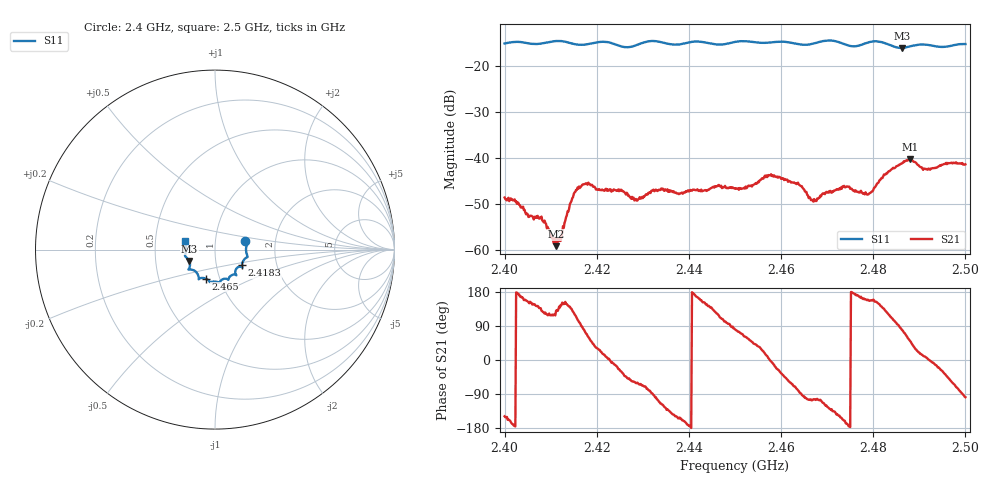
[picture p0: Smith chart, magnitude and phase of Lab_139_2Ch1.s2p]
# Hz S RI R 50
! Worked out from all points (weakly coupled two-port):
!   601 points, 2.4 GHz to 2.5 GHz, reference 50 ohm
!   highest |S21| = -40.29 dB at 2.488 GHz (marker M1); lowest = -59.1 dB at 2.4112 GHz (marker M2)
!   lowest |S11| = -16.1 dB at 2.4862 GHz (marker M3), VSWR 1.37, Z = 37.2 - j4.83 ohm
!   |S11| at or under -10 dB: start of sweep to end of sweep
!   S12 and S22 are empty: the file has one direction only
!   S11 on the Smith chart (normalised r, x): 2.4 GHz: 1.40, +0.14; 2.4183 GHz: 1.33, -0.24; 2.465 GHz: 0.86, -0.28; 2.5 GHz: 0.71, +0.07
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2.4e9  0.1689 0.0469  -0.00318 -0.00193  0 0  0 0
2.408167e9  0.1749 -0.0175  -0.00132 0.00165  0 0  0 0
2.411167e9  0.1822 -0.0388  -0.000705 0.000849  0 0  0 0
2.412333e9  0.1814 -0.0413  -0.00113 0.000803  0 0  0 0
2.415e9  0.1652 -0.0518  -0.00233 0.00332  0 0  0 0
2.416667e9  0.1548 -0.0683  8.53e-05 0.00496  0 0  0 0
2.418333e9  0.1502 -0.0871  0.00278 0.00448  0 0  0 0
2.4255e9  0.1296 -0.0971  0.00366 -0.0024  0 0  0 0
2.428667e9  0.1128 -0.1253  0.00167 -0.00302  0 0  0 0
2.433333e9  0.1177 -0.141  -0.00129 -0.00429  0 0  0 0
2.437833e9  0.0841 -0.1486  -0.00362 -0.00181  0 0  0 0
2.45e9  0.0264 -0.1804  0.000739 0.00458  0 0  0 0
2.457667e9  -0.0149 -0.1788  0.00649 -0.000208  0 0  0 0
2.465e9  -0.0523 -0.1615  -0.000456 -0.00452  0 0  0 0
2.466667e9  -0.0711 -0.1576  -0.00099 -0.00335  0 0  0 0
2.473833e9  -0.0934 -0.1438  -0.00454 -0.00161  0 0  0 0
2.479e9  -0.1422 -0.1109  -0.00375 0.00153  0 0  0 0
2.483333e9  -0.141 -0.0962  -0.00361 0.00621  0 0  0 0
2.486167e9  -0.1434 -0.0633  0.00141 0.00858  0 0  0 0
2.488e9  -0.1563 -0.0468  0.00626 0.00738  0 0  0 0
2.491333e9  -0.1669 -0.0326  0.00754 0.00106  0 0  0 0
2.5e9  -0.1664 0.0466  -0.00122 -0.00844  0 0  0 0
